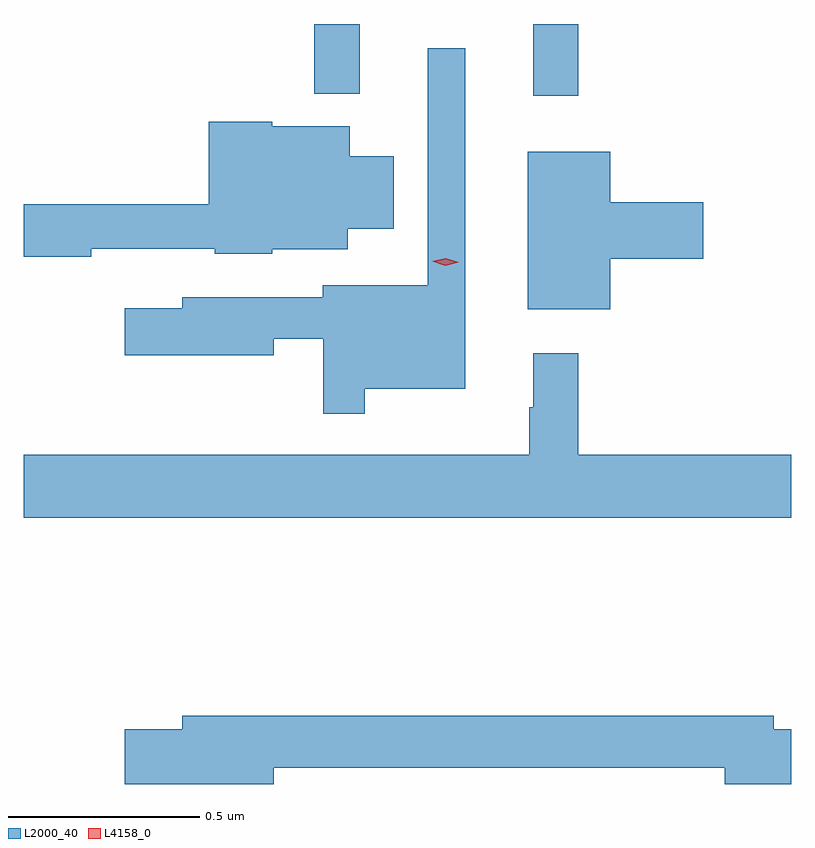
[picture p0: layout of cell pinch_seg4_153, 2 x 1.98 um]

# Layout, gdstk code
import gdstk
lib = gdstk.Library(unit=1e-6, precision=1e-09)
def R(c, l, rs):  # rectangles x0, y0, x1, y1
    for r in rs: c.add(gdstk.rectangle(r[:2], r[2:], *l))
def P(c, l, *ps):  # polygons
    for p in ps: c.add(gdstk.Polygon(p, *l))
L2000_40 = (2000, 40)
L4158_0 = (4158, 0)

pinch_seg4_153 = lib.new_cell('pinch_seg4_153')
R(pinch_seg4_153, L2000_40, [(1107.236,808.575,1107.353,808.762), (1106.665,808.58,1106.783,808.762)])
P(pinch_seg4_153, L2000_40, [(1106.797,807.812),(1107.058,807.812),(1107.058,808.699),(1106.961,808.699),(1106.961,808.081),(1106.687,808.081),(1106.687,808.05),(1106.321,808.05),(1106.321,808.021),(1106.172,808.021),(1106.172,807.899),(1106.56,807.899),(1106.56,807.942),(1106.688,807.942),(1106.688,807.747),(1106.797,807.747)],
  [(1106.084,808.176),(1106.406,808.176),(1106.406,808.163),(1106.556,808.163),(1106.556,808.175),(1106.752,808.175),(1106.752,808.229),(1106.872,808.229),(1106.872,808.417),(1106.758,808.417),(1106.758,808.495),(1106.556,808.495),(1106.556,808.507),(1106.39,808.507),(1106.39,808.292),(1105.908,808.292),(1105.908,808.156),(1106.084,808.156)],
  [(1107.436,808.151),(1107.679,808.151),(1107.679,808.298),(1107.436,808.298),(1107.436,808.429),(1107.221,808.429),(1107.221,808.019),(1107.436,808.019)],
  [(1107.908,807.64),(1107.353,807.64),(1107.353,807.904),(1107.236,807.904),(1107.236,807.764),(1107.225,807.764),(1107.225,807.64),(1105.908,807.64),(1105.908,807.476),(1107.908,807.476)],
  [(1106.56,806.824),(1107.734,806.824),(1107.734,806.782),(1107.908,806.782),(1107.908,806.924),(1107.862,806.924),(1107.862,806.96),(1106.321,806.96),(1106.321,806.924),(1106.172,806.924),(1106.172,806.782),(1106.56,806.782)])
P(pinch_seg4_153, L4158_0, [(1107.006,808.132),(1106.972,808.144),(1106.971,808.144),(1106.972,808.144),(1107.007,808.152),(1107.042,808.141),(1107.042,808.141),(1107.042,808.141)])

lib.write_gds('pinch_seg4_153.gds')
